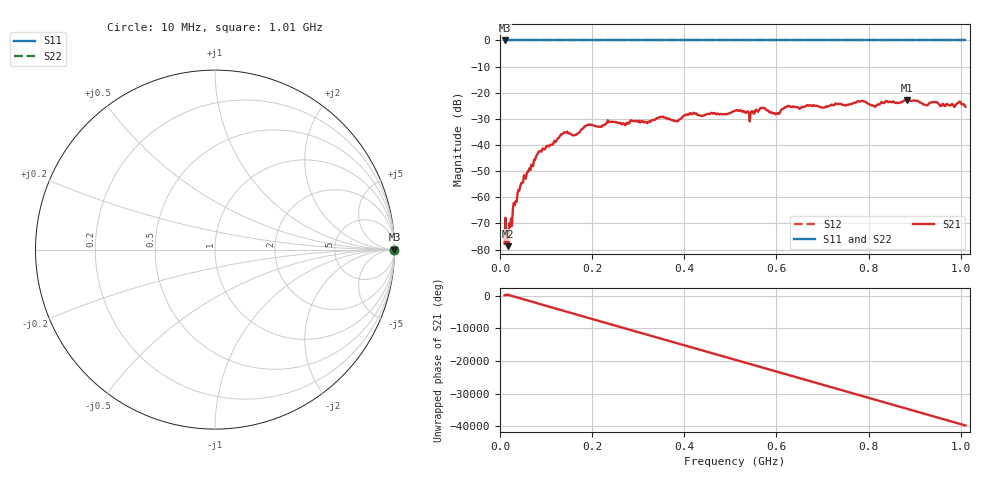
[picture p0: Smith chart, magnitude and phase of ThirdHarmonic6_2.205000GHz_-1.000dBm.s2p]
! 8/17/2025 2:16:46 AM
! C:\ANRITSUVNA\TEMP\TEMP.S2P
! CHANNEL.1
! TR.MEASUREMENT
! RAW.DATA
! RF.CORRECTION.OFF
! AVERAGING.OFF
! IF.BANDWIDTH: 5KHZ
! SWEEPTYPE:  FREQ.SWEEP(Linear)
! Reference Plane Port Info
! PORT:  PORT1  PORT2
! DISTANCE:  0  m  0  m
! TIME:  0  s  0  s
! PHASE.OFFSET:  0  deg.  0  deg.
! LOSS:  0  dB  0  dB
! REF.LOSS:  0  dB  0  dB
! REF.FREQ:  0  Hz  0  Hz
! Power Info
! POWER:  -20  dBm  -20  dBm
! EFF.POWER:  -20  dBm  -20  dBm
! SOURCE.ATTEN:  0  dB  0  dB
! TEST.ATTEN:  0  dB  0  dB
# GHZ S RI R 50.0
! FREQ.GHZ  S11RE  S11IM  S21RE  S21IM  S12RE  S12IM  S22RE  S22IM
!; PortSelection: Port_12
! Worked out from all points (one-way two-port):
!   501 points, 10 MHz to 1.01 GHz, reference 50 ohm
!   highest |S21| = -22.74 dB at 884 MHz (marker M1); lowest = -78.7 dB at 18 MHz (marker M2)
!   lowest |S11| = 0.0 dB at 10 MHz (marker M3)
!   |S11| at or under -10 dB: nowhere
!   |S22| runs from 0.0 to 0.0 dB; largest |S21 - S12| = 1.1
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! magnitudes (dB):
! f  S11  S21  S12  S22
! 10 MHz  0.0  -77.8  0.0  0.0
! 18 MHz  0.0  -78.7  0.0  0.0
! 32 MHz  0.0  -63.0  0.0  0.0
! 42 MHz  0.0  -57.4  0.0  0.0
! 82 MHz  0.0  -43.4  0.0  0.0
! 136 MHz  0.0  -35.8  0.0  0.0
! 162 MHz  0.0  -36.3  0.0  0.0
! 178 MHz  0.0  -33.9  0.0  0.0
! 344 MHz  0.0  -29.7  0.0  0.0
! 382 MHz  0.0  -30.8  0.0  0.0
! 416 MHz  0.0  -28.3  0.0  0.0
! 510 MHz  0.0  -27.0  0.0  0.0
! 546 MHz  0.0  -27.0  0.0  0.0
! 570 MHz  0.0  -25.9  0.0  0.0
! 602 MHz  0.0  -27.8  0.0  0.0
! 624 MHz  0.0  -25.0  0.0  0.0
! 678 MHz  0.0  -25.2  0.0  0.0
! 788 MHz  0.0  -23.2  0.0  0.0
! 812 MHz  0.0  -25.2  0.0  0.0
! 844 MHz  0.0  -23.5  0.0  0.0
! 884 MHz  0.0  -22.7  0.0  0.0
! 1.01 GHz  0.0  -25.4  0.0  0.0
